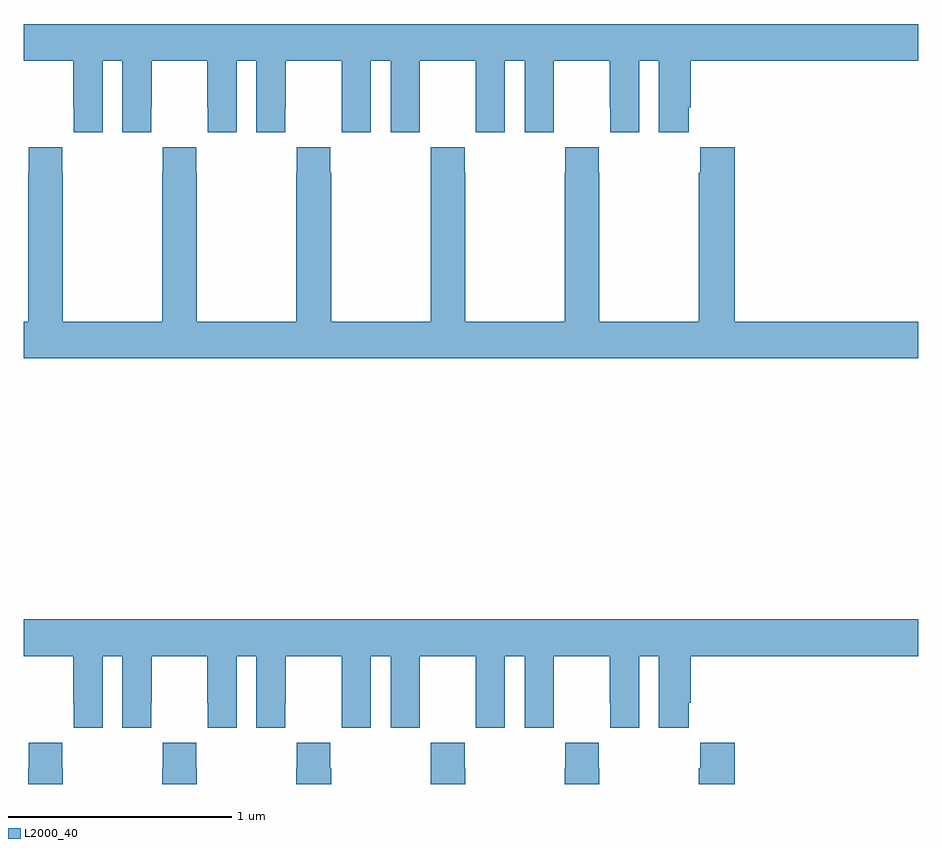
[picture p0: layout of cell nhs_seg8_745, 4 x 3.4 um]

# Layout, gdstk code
import gdstk
lib = gdstk.Library(unit=1e-6, precision=1e-09)
def P(c, l, *ps):  # polygons
    for p in ps: c.add(gdstk.Polygon(p, *l))
L2000_40 = (2000, 40)

nhs_seg8_745 = lib.new_cell('nhs_seg8_745')
P(nhs_seg8_745, L2000_40, [(159,1147.136),(159.221,1147.136),(159.221,1146.928),(159.222,1146.928),(159.222,1146.816),(159.352,1146.816),(159.352,1147.136),(159.44,1147.136),(159.44,1146.816),(159.57,1146.816),(159.57,1146.928),(159.571,1146.928),(159.571,1147.136),(159.821,1147.136),(159.821,1146.928),(159.822,1146.928),(159.822,1146.816),(159.952,1146.816),(159.952,1147.136),(160.04,1147.136),(160.04,1146.816),(160.17,1146.816),(160.17,1146.928),(160.171,1146.928),(160.171,1147.136),(160.421,1147.136),(160.421,1146.928),(160.422,1146.928),(160.422,1146.816),(160.552,1146.816),(160.552,1147.136),(160.64,1147.136),(160.64,1146.816),(160.77,1146.816),(160.77,1146.928),(160.771,1146.928),(160.771,1147.136),(161.021,1147.136),(161.021,1146.928),(161.022,1146.928),(161.022,1146.816),(161.152,1146.816),(161.152,1147.136),(161.24,1147.136),(161.24,1146.816),(161.37,1146.816),(161.37,1146.928),(161.371,1146.928),(161.371,1147.136),(161.621,1147.136),(161.621,1146.928),(161.622,1146.928),(161.622,1146.816),(161.752,1146.816),(161.752,1147.136),(161.84,1147.136),(161.84,1146.816),(161.974,1146.816),(161.974,1146.928),(161.984,1146.928),(161.984,1147.136),(163,1147.136),(163,1147.3),(159,1147.3)],
  [(163,1145.968),(162.179,1145.968),(162.179,1146.748),(162.025,1146.748),(162.025,1146.635),(162.019,1146.635),(162.019,1145.968),(161.574,1145.968),(161.574,1146.635),(161.571,1146.635),(161.571,1146.748),(161.421,1146.748),(161.421,1146.635),(161.419,1146.635),(161.419,1145.968),(160.974,1145.968),(160.974,1146.635),(160.971,1146.635),(160.971,1146.748),(160.821,1146.748),(160.821,1146.635),(160.819,1146.635),(160.819,1145.968),(160.374,1145.968),(160.374,1146.635),(160.371,1146.635),(160.371,1146.748),(160.221,1146.748),(160.221,1146.635),(160.219,1146.635),(160.219,1145.968),(159.774,1145.968),(159.774,1146.635),(159.771,1146.635),(159.771,1146.748),(159.621,1146.748),(159.621,1146.635),(159.619,1146.635),(159.619,1145.968),(159.174,1145.968),(159.174,1146.635),(159.171,1146.635),(159.171,1146.748),(159.021,1146.748),(159.021,1146.635),(159.019,1146.635),(159.019,1145.968),(159,1145.968),(159,1145.804),(163,1145.804)],
  [(159.352,1144.472),(159.44,1144.472),(159.44,1144.152),(159.57,1144.152),(159.57,1144.264),(159.571,1144.264),(159.571,1144.472),(159.821,1144.472),(159.821,1144.264),(159.822,1144.264),(159.822,1144.152),(159.952,1144.152),(159.952,1144.472),(160.04,1144.472),(160.04,1144.152),(160.17,1144.152),(160.17,1144.264),(160.171,1144.264),(160.171,1144.472),(160.421,1144.472),(160.421,1144.264),(160.422,1144.264),(160.422,1144.152),(160.552,1144.152),(160.552,1144.472),(160.64,1144.472),(160.64,1144.152),(160.77,1144.152),(160.77,1144.264),(160.771,1144.264),(160.771,1144.472),(161.021,1144.472),(161.021,1144.264),(161.022,1144.264),(161.022,1144.152),(161.152,1144.152),(161.152,1144.472),(161.24,1144.472),(161.24,1144.152),(161.37,1144.152),(161.37,1144.264),(161.371,1144.264),(161.371,1144.472),(161.621,1144.472),(161.621,1144.264),(161.622,1144.264),(161.622,1144.152),(161.752,1144.152),(161.752,1144.472),(161.84,1144.472),(161.84,1144.152),(161.974,1144.152),(161.974,1144.264),(161.984,1144.264),(161.984,1144.472),(163,1144.472),(163,1144.636),(159,1144.636),(159,1144.472),(159.221,1144.472),(159.221,1144.264),(159.222,1144.264),(159.222,1144.152),(159.352,1144.152)],
  [(160.374,1143.971),(160.371,1143.971),(160.371,1144.084),(160.221,1144.084),(160.221,1143.971),(160.219,1143.971),(160.219,1143.9),(160.374,1143.9)],
  [(162.179,1144.084),(162.025,1144.084),(162.025,1143.971),(162.019,1143.971),(162.019,1143.9),(162.179,1143.9)],
  [(161.574,1143.971),(161.571,1143.971),(161.571,1144.084),(161.421,1144.084),(161.421,1143.971),(161.419,1143.971),(161.419,1143.9),(161.574,1143.9)],
  [(160.974,1143.971),(160.971,1143.971),(160.971,1144.084),(160.821,1144.084),(160.821,1143.971),(160.819,1143.971),(160.819,1143.9),(160.974,1143.9)],
  [(159.774,1143.971),(159.771,1143.971),(159.771,1144.084),(159.621,1144.084),(159.621,1143.971),(159.619,1143.971),(159.619,1143.9),(159.774,1143.9)],
  [(159.174,1143.971),(159.171,1143.971),(159.171,1144.084),(159.021,1144.084),(159.021,1143.971),(159.019,1143.971),(159.019,1143.9),(159.174,1143.9)])

lib.write_gds('nhs_seg8_745.gds')
